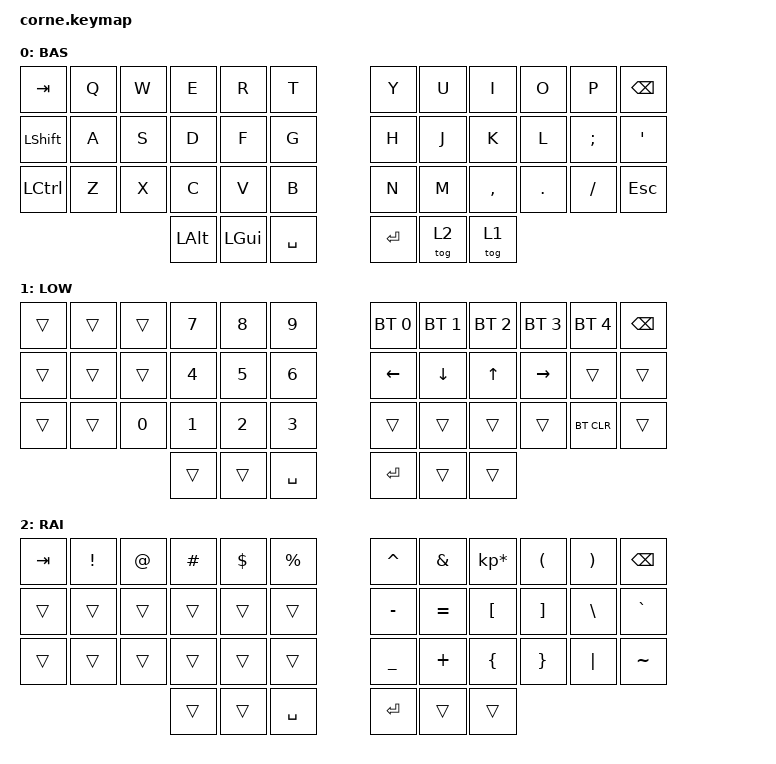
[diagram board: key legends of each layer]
/*
 * Copyright (c) 2020 The ZMK Contributors
 *
 * SPDX-License-Identifier: MIT
 */

#include <dt-bindings/led/led.h>
#include <dt-bindings/zmk/reset.h>
#include <behaviors.dtsi>
#include <dt-bindings/zmk/bt.h>
#include <dt-bindings/zmk/keys.h>

&led_strip { chain-length = <27>; };

/ {
    keymap {
        compatible = "zmk,keymap";

        default_layer {
            display-name = "BAS";

            // -----------------------------------------------------------------------------------------
            // |  TAB |  Q  |  W  |  E  |  R  |  T  |   |  Y  |  U   |  I  |  O  |  P  | BKSP |
            // | CTRL |  A  |  S  |  D  |  F  |  G  |   |  H  |  J   |  K  |  L  |  ;  |  '   |
            // | SHFT |  Z  |  X  |  C  |  V  |  B  |   |  N  |  M   |  ,  |  .  |  /  | ESC  |
            //                    | GUI | LWR | SPC |   | ENT | RSE  | ALT |

            bindings = <
&kp TAB         &kp Q  &kp W  &kp E     &kp R     &kp T        &kp Y    &kp U   &kp I      &kp O    &kp P     &kp BSPC
&kp LEFT_SHIFT  &kp A  &kp S  &kp D     &kp F     &kp G        &kp H    &kp J   &kp K      &kp L    &kp SEMI  &kp SQT
&kp LCTRL       &kp Z  &kp X  &kp C     &kp V     &kp B        &kp N    &kp M   &kp COMMA  &kp DOT  &kp FSLH  &kp ESC
                              &kp LALT  &kp LGUI  &kp SPACE    &kp RET  &tog 2  &tog 1
            >;
        };

        lower_layer {
            display-name = "LOW";

            // -----------------------------------------------------------------------------------------
            // |  TAB |  1  |  2  |  3  |  4  |  5  |   |  6  |  7  |  8  |  9  |  0  | BKSP |
            // | BTCLR| BT1 | BT2 | BT3 | BT4 | BT5 |   | LFT | DWN |  UP | RGT |     |      |
            // | SHFT |     |     |     |     |     |   |     |     |     |     |     |      |
            //                    | GUI |     | SPC |   | ENT |     | ALT |

            bindings = <
&trans  &trans  &trans        &kp NUMBER_7  &kp NUMBER_8  &kp NUMBER_9    &bt BT_SEL 0  &bt BT_SEL 1  &bt BT_SEL 2  &bt BT_SEL 3  &bt BT_SEL 4  &kp BSPC
&trans  &trans  &trans        &kp NUMBER_4  &kp NUMBER_5  &kp NUMBER_6    &kp LEFT      &kp DOWN      &kp UP        &kp RIGHT     &trans        &trans
&trans  &trans  &kp NUMBER_0  &kp NUMBER_1  &kp NUMBER_2  &kp NUMBER_3    &trans        &trans        &trans        &trans        &bt BT_CLR    &trans
                              &trans        &trans        &kp SPACE       &kp RET       &trans        &trans
            >;
        };

        raise_layer {
            display-name = "RAI";

            // -----------------------------------------------------------------------------------------
            // |  TAB |  !  |  @  |  #  |  $  |  %  |   |  ^  |  &  |  *  |  (  |  )  | BKSP |
            // | CTRL |     |     |     |     |     |   |  -  |  =  |  [  |  ]  |  \  |  `   |
            // | SHFT |     |     |     |     |     |   |  _  |  +  |  {  |  }  | "|" |  ~   |
            //                    | GUI |     | SPC |   | ENT |     | ALT |

            bindings = <
&kp TAB  &kp EXCL  &kp AT  &kp HASH  &kp DLLR  &kp PRCNT    &kp CARET  &kp AMPS   &kp KP_MULTIPLY  &kp LPAR  &kp RPAR  &kp BSPC
&trans   &trans    &trans  &trans    &trans    &trans       &kp MINUS  &kp EQUAL  &kp LBKT         &kp RBKT  &kp BSLH  &kp GRAVE
&trans   &trans    &trans  &trans    &trans    &trans       &kp UNDER  &kp PLUS   &kp LBRC         &kp RBRC  &kp PIPE  &kp TILDE
                           &trans    &trans    &kp SPACE    &kp RET    &trans     &trans
            >;
        };
    };
};
